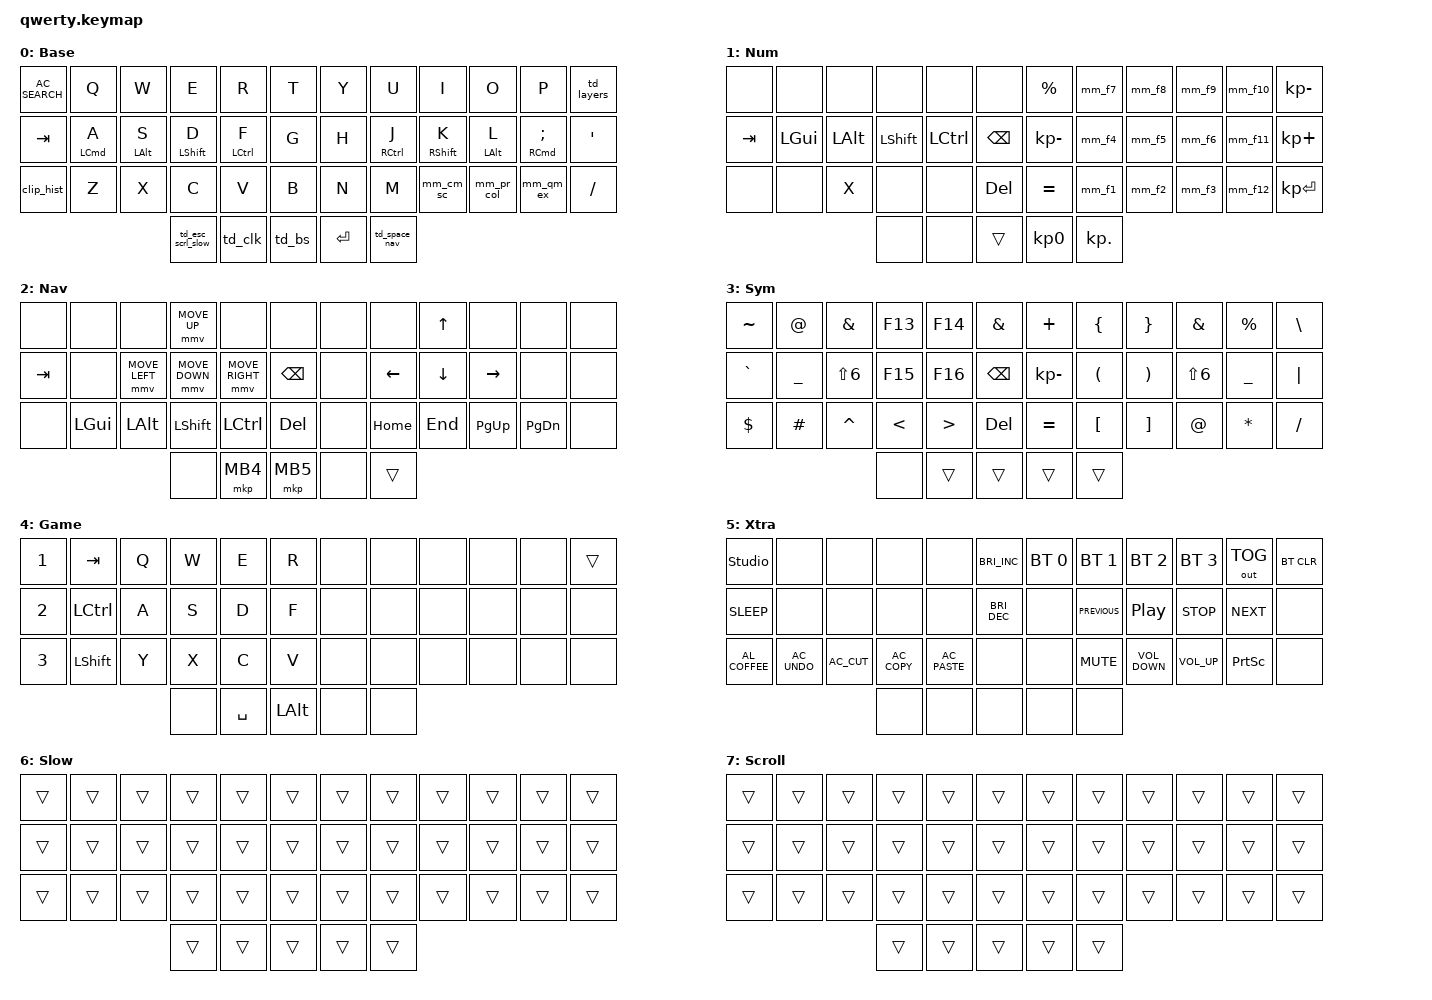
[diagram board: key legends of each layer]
 /* upstream bindings and behaviors */ 
#include <behaviors.dtsi>
#include <dt-bindings/zmk/bt.h>
#include <dt-bindings/zmk/keys.h>
#include <dt-bindings/zmk/mouse.h>
#include <dt-bindings/zmk/outputs.h>
#include <behaviors/mouse_keys.dtsi>
#include <dt-bindings/zmk/ext_power.h>

/* local overlays */
#include "macros.dtsi"
#include "behaviors.dtsi"
#include "combos.dtsi"

/ {
/* --- KEYMAP CONFIG --- */
// ╭──────┬──────┬──────┬──────┬──────┬──────╮  ╭──────┬──────┬──────┬──────┬──────┬──────╮
//    00     01     02     03    04      05        06     07     08     09     10     11
// ├──────┼──────┼──────┼──────┼──────┼──────┤  ├──────┼──────┼──────┼──────┼──────┼──────┤
//    12     13     14     15    16      17        18     19     20     21     22     23
// ├──────┼──────┼──────┼──────┼──────┼──────┤  ├──────┼──────┼──────┼──────┼──────┼──────┤
//    24     25     26     27    28      29        30     31     32     33     34     35
// ╰──────┴──────┴──────┼──────┼──────┼──────┤  ├──────┼──────┼──────┴──────┴──────┴──────╯
//                         36     37     38        39     40
//                      ╰──────┴──────┴──────╯  ╰──────┴──────╯
// #define BASE    0
// #define NUM     1
// #define NAV     2
// #define SYM     3
// #define GAME    4
// #define EXTRAS  5
// #define SLOW    6
// #define SCROLL  7

    keymap {
        compatible = "zmk,keymap";
        BASE {
            display-name = "Base";
            bindings = <
// ╭───────────────┬────────────────┬────────────────┬─────────────────┬─────────────────┬──────╮  ╭──────┬──────────────────┬──────────────────┬─────────────────┬────────────────────────┬─────────────╮
    &kp C_AC_SEARCH &kp Q            &kp W            &kp E             &kp R             &kp T     &kp Y  &kp U              &kp I              &kp O             &kp P                     &td_layers
// ├───────────────┼────────────────┼────────────────┼─────────────────┼─────────────────┼──────┤  ├──────┼──────────────────┼──────────────────┼─────────────────┼────────────────────────┼─────────────┤
    &kp TAB         &ht_left LCMD A  &ht_left LALT S  &ht_left LSHFT D  &ht_left LCTRL F  &kp G     &kp H  &ht_right RCTRL J  &ht_right RSHFT K  &ht_right LALT L  &ht_right RCMD SEMICOLON  &kp SQT
// ├───────────────┼────────────────┼────────────────┼─────────────────┼─────────────────┼──────┤  ├──────┼──────────────────┼──────────────────┼─────────────────┼────────────────────────┼─────────────┤
    &clip_hist      &kp Z            &kp X            &kp C             &kp V             &kp B     &kp N  &kp M              &mm_cm_sc          &mm_pr_col        &mm_qm_ex                 &kp FSLH
// ╰───────────────┴────────────────┴────────────────┼─────────────────┼─────────────────┼──────┤  ├──────┼──────────────────┼──────────────────┴─────────────────┴────────────────────────┴─────────────╯
                                                             &td_esc_scrl_slow   &td_clk  &td_bs     &kp ENTER  &td_space_nav
                                                         // ╰──────────────────┴─────────┴──────╯  ╰──────────┴──────────────╯
            >;
        };

        NUM {
            display-name = "Num";
             bindings = <
&none    &none     &none     &none      &none     &none          &kp PRCNT      &mm_f7             &mm_f8             &mm_f9             &mm_f10            &kp KP_MINUS
&kp TAB  &kp LGUI  &kp LALT  &kp LSHFT &kp LCTRL  &kp BACKSPACE  &kp KP_MINUS   &mm_f4             &mm_f5             &mm_f6             &mm_f11            &kp KP_PLUS
&none    &none     &kp X     &none     &none      &kp DEL        &kp EQUAL      &mm_f1             &mm_f2             &mm_f3             &mm_f12            &kp KP_ENTER
                          &none        &none      &trans         &kp KP_N0         &kp KP_DOT
            >;
        };

        NAV {
            display-name = "Nav";
            bindings = <
&none      &none      &none          &mmv MOVE_UP    &none            &none            &none         &none           &kp UP      &none             &none   &none  
&kp TAB    &none      &mmv MOVE_LEFT  &mmv MOVE_DOWN &mmv MOVE_RIGHT  &kp BACKSPACE    &none         &kp LEFT_ARROW  &kp DOWN    &kp RIGHT_ARROW   &none   &none
&none      &kp LGUI   &kp LALT        &kp LSHFT   	 &kp LCTRL		  &kp DEL          &none         &kp HOME        &kp END     &kp PG_UP         &kp PG_DN  &none
&none   &mkp MB4  &mkp MB5               &none   &trans
            >;
        };

        SYM {
            display-name = "Sym";
            bindings = <
&kp TILDE  &kp AT     &kp AMPS    &kp F13      &kp F14      &kp AMPS    &kp PLUS      &kp LEFT_BRACE    &kp RIGHT_BRACE    &kp AMPS    &kp PRCNT  &kp BSLH
&kp GRAVE  &kp UNDER  &kp LS(N6)  &kp F15      &kp F16      &kp BSPC    &kp KP_MINUS  &kp LPAR          &kp RPAR           &kp LS(N6)  &kp UNDER  &kp PIPE
&kp DLLR   &kp HASH   &kp CARET   &kp LT       &kp GT       &kp DEL     &kp EQUAL     &kp LEFT_BRACKET  &kp RIGHT_BRACKET  &kp AT      &kp STAR   &kp FSLH
                                      &none  &trans     &trans            &trans   &trans
            >;
        };

        GAME {
            display-name = "Game";
            bindings = <
&kp N1  &kp TAB    &kp Q  &kp W   &kp E      &kp R           &none  &none  &none  &none  &none  &trans
&kp N2  &kp LCTRL  &kp A  &kp S   &kp D      &kp F           &none  &none  &none  &none  &none  &none
&kp N3  &kp LSHFT  &kp Y  &kp X   &kp C      &kp V           &none  &none  &none  &none  &none  &none
                          &none   &kp SPACE  &kp LEFT_ALT    &none  &none
            >;
        };

        EXTRAS {
            display-name = "Xtra";
            bindings = <
&studio_unlock   &none          &none          &none           &none           &kp C_BRIGHTNESS_INC    &bt BT_SEL 0  &bt BT_SEL 1    &bt BT_SEL 2       &bt BT_SEL 3  &out OUT_TOG         &bt BT_CLR
&kp C_SLEEP      &none           &none           &none           &none           &kp C_BRIGHTNESS_DEC    &none         &kp C_PREVIOUS  &kp C_PLAY_PAUSE   &kp C_STOP    &kp C_NEXT           &none
&kp C_AL_COFFEE   &kp C_AC_UNDO   &kp C_AC_CUT    &kp C_AC_COPY   &kp C_AC_PASTE  &none                   &none      &kp K_MUTE      &kp C_VOLUME_DOWN  &kp C_VOLUME_UP   &kp PRINTSCREEN  &none
                                                                                   &none  &none  &none    &none         &none
            >;
        };

        SLOW {
            display-name = "Slow";
            bindings = <
&trans    &trans    &trans    &trans    &trans    &trans    &trans    &trans    &trans    &trans    &trans    &trans
&trans    &trans    &trans    &trans    &trans    &trans    &trans    &trans    &trans    &trans    &trans    &trans
&trans    &trans    &trans    &trans    &trans    &trans    &trans    &trans    &trans    &trans    &trans    &trans
                              &trans    &trans    &trans    &trans    &trans
            >;
        };

        SCROLL {
            display-name = "Scroll";
            bindings = <
&trans    &trans    &trans    &trans    &trans    &trans    &trans    &trans    &trans    &trans    &trans    &trans
&trans    &trans    &trans    &trans    &trans    &trans    &trans    &trans    &trans    &trans    &trans    &trans
&trans    &trans    &trans    &trans    &trans    &trans    &trans    &trans    &trans    &trans    &trans    &trans
                              &trans    &trans    &trans    &trans    &trans
            >;
        };
    };
};
